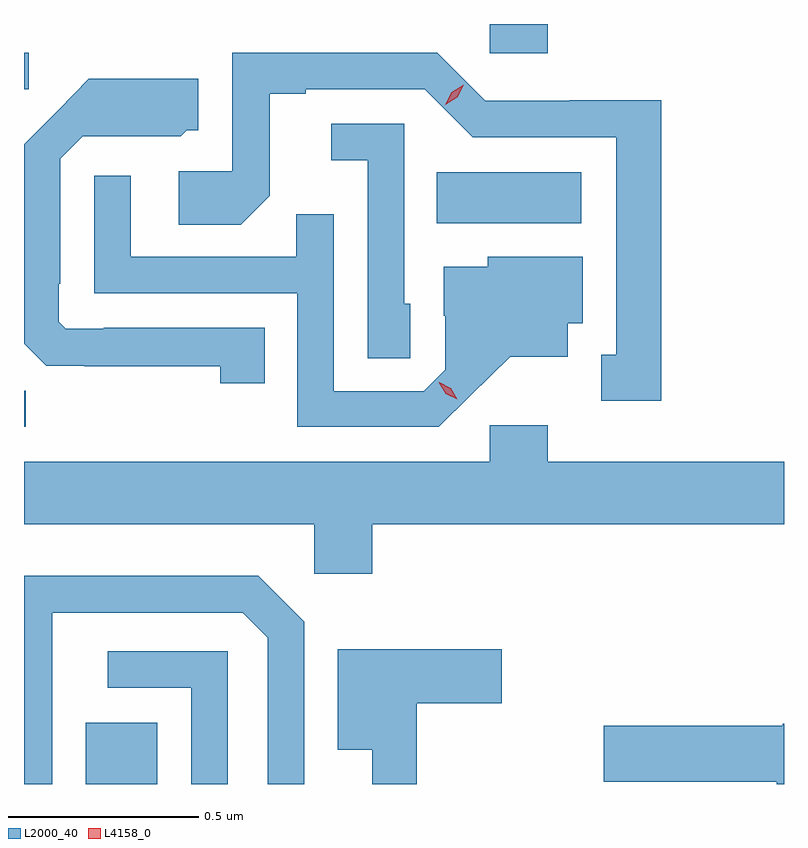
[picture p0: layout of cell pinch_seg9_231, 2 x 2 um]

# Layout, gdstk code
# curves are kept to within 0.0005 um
import gdstk
lib = gdstk.Library(unit=1e-6, precision=1e-09)
def R(c, l, rs):  # rectangles x0, y0, x1, y1
    for r in rs: c.add(gdstk.rectangle(r[:2], r[2:], *l))
def P(c, l, *ps):  # polygons
    for p in ps: c.add(gdstk.Polygon(p, *l))
L2000_40 = (2000, 40)
L4158_0 = (4158, 0)

pinch_seg9_231 = lib.new_cell('pinch_seg9_231')
R(pinch_seg9_231, L2000_40, [(612.857,1209.056,613.045,1209.217), (612.694,1209.996,612.699,1210.091), (613.78,1210.532,614.161,1210.666), (612.694,1210.884,612.706,1210.98), (613.92,1210.979,614.072,1211.056)])
P(pinch_seg9_231, L2000_40, [(614.371,1210.856),(614.13,1210.856),(614.13,1210.854),(613.908,1210.854),(613.782,1210.98),(613.242,1210.98),(613.242,1210.668),(613.101,1210.668),(613.101,1210.528),(613.265,1210.528),(613.341,1210.604),(613.341,1210.872),(613.435,1210.872),(613.435,1210.884),(613.749,1210.884),(613.875,1210.758),(614.252,1210.758),(614.252,1210.185),(614.213,1210.185),(614.213,1210.065),(614.371,1210.065)],
  [(613.328,1210.257),(612.904,1210.257),(612.904,1210.254),(612.804,1210.254),(612.786,1210.272),(612.786,1210.372),(612.789,1210.372),(612.789,1210.701),(612.849,1210.761),(612.972,1210.761),(612.972,1210.76),(613.106,1210.76),(613.122,1210.776),(613.153,1210.776),(613.153,1210.912),(612.865,1210.912),(612.694,1210.739),(612.694,1210.215),(612.752,1210.157),(612.853,1210.157),(612.853,1210.156),(613.21,1210.156),(613.21,1210.11),(613.328,1210.11)],
  [(613.71,1210.32),(613.695,1210.32),(613.695,1210.794),(613.503,1210.794),(613.503,1210.697),(613.599,1210.697),(613.599,1210.177),(613.71,1210.177)],
  [(613.87,1210.079),(613.973,1210.181),(614.125,1210.181),(614.125,1210.268),(614.164,1210.268),(614.164,1210.444),(613.914,1210.444),(613.914,1210.417),(613.799,1210.417),(613.799,1210.288),(613.803,1210.288),(613.803,1210.146),(613.746,1210.089),(613.509,1210.089),(613.509,1210.556),(613.411,1210.556),(613.411,1210.443),(612.975,1210.443),(612.975,1210.657),(612.879,1210.657),(612.879,1210.347),(613.413,1210.347),(613.413,1209.996),(613.786,1209.996)],
  [(613.61,1209.74),(614.694,1209.74),(614.694,1209.904),(614.072,1209.904),(614.072,1210),(613.92,1210),(613.92,1209.904),(612.694,1209.904),(612.694,1209.74),(613.458,1209.74),(613.458,1209.609),(613.61,1209.609)],
  [(612.768,1209.507),(613.269,1209.507),(613.335,1209.441),(613.335,1209.056),(613.431,1209.056),(613.431,1209.483),(613.31,1209.604),(612.694,1209.604),(612.694,1209.056),(612.768,1209.056)],
  [(613.727,1209.269),(613.951,1209.269),(613.951,1209.411),(613.52,1209.411),(613.52,1209.146),(613.61,1209.146),(613.61,1209.056),(613.727,1209.056)],
  [(613.23,1209.405),(612.915,1209.405),(612.915,1209.309),(613.134,1209.309),(613.134,1209.056),(613.23,1209.056)],
  [(614.694,1209.214),(614.691,1209.214),(614.691,1209.209),(614.22,1209.209),(614.22,1209.062),(614.675,1209.062),(614.675,1209.056),(614.694,1209.056)])
P(pinch_seg9_231, L4158_0, [(613.802,1210.844),(613.802,1210.844),(613.82,1210.877),(613.851,1210.896),(613.851,1210.896),(613.851,1210.896),(613.834,1210.863),(613.803,1210.844)],
  [(613.834,1210.068),(613.804,1210.083),(613.786,1210.113),(613.786,1210.113),(613.787,1210.113),(613.817,1210.098),(613.834,1210.068),(613.834,1210.068)])

lib.write_gds('pinch_seg9_231.gds')
